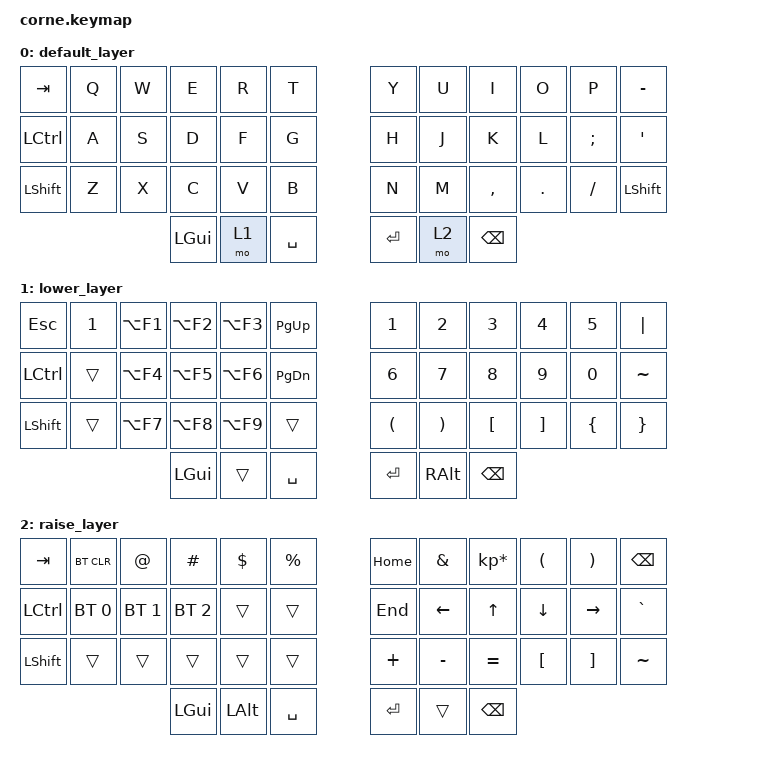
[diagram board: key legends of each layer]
/*
 * Copyright (c) 2020 The ZMK Contributors
 *
 * SPDX-License-Identifier: MIT
 */

#include <behaviors.dtsi>
#include <dt-bindings/zmk/keys.h>
#include <dt-bindings/zmk/bt.h>

/ {
        keymap {
                compatible = "zmk,keymap";

                default_layer {
// -----------------------------------------------------------------------------------------
// |  TAB |  Q  |  W  |  E  |  R  |  T  |   |  Y  |  U   |  I  |  O  |  P  | - |
// | CTRL |  A  |  S  |  D  |  F  |  G  |   |  H  |  J   |  K  |  L  |  ;  |  '   |
// | SHFT |  Z  |  X  |  C  |  V  |  B  |   |  N  |  M   |  ,  |  .  |  /  | ESC  |
//                    | GUI | LWR | SPC |   | ENT | RSE  | ALT |
                        bindings = <
   &kp TAB      &kp Q   &kp W   &kp E   &kp R   &kp T           &kp Y   &kp U   &kp I     &kp O     &kp P     &kp MINUS
   &kp LCTRL    &kp A   &kp S   &kp D   &kp F   &kp G           &kp H   &kp J   &kp K     &kp L     &kp SEMI  &kp SQT
   &kp LSHFT    &kp Z   &kp X   &kp C   &kp V   &kp B           &kp N   &kp M   &kp COMMA &kp DOT   &kp FSLH  &kp LSHFT
                             &kp LGUI &mo 1 &kp SPACE           &kp RET &mo 2   &kp BSPC
                        >;
                };
                lower_layer {
// -----------------------------------------------------------------------------------------
// |  ESC |  1  |  2  |  3  |  4  |  5  |   |  6  |  7  |  8  |  9  |  0  | = |
// | CTRL | BT1 | BT2 | BT3 | BT4 | BT5 |   |  ^  |  &  |  *  |  (  |  )  |  ~   |
// | SHFT |BTCLR|     |     |     |     |   |  |  |  [  |  ]  |  {  |  }  |      |
//                    | GUI |     | SPC |   | ENT |     | ALT |
                        bindings = <
   &kp ESC      &kp N1          &kp LA(F1)   &kp LA(F2)   &kp LA(F3)   &kp PAGE_UP      &kp N1    &kp N2    &kp N3       &kp N4     &kp N5   &kp PIPE
   &kp LCTRL    &trans       &kp LA(F4)   &kp LA(F5)   &kp LA(F6)   &kp PAGE_DOWN    &kp N6    &kp N7    &kp N8       &kp N9     &kp N0   &kp TILDE
   &kp LSHFT    &trans       &kp LA(F7)   &kp LA(F8)   &kp LA(F9)   &trans           &kp LPAR  &kp RPAR  &kp LBKT     &kp RBKT   &kp LBRC &kp RBRC
                                             &kp LGUI     &trans       &kp SPACE        &kp RET   &kp RALT  &kp BSPC
                        >;
                };

                raise_layer {
// -----------------------------------------------------------------------------------------
// |  TAB |  !  |  @  |  #  |  $  |  %  |   |  ^  |  &  |  *  |  (  |  )  | BKSP |
// | CTRL |     |     |     |     |     |   |  -  |  =  |  [  |  ]  |  \  |  `   |
// | SHFT |     |     |     |     |     |   |  _  |  +  |  {  |  }  | "|" |  ~   |
//                    | GUI |     | SPC |   | ENT |     | ALT |
                        bindings = <
   &kp  TAB     &bt BT_CLR     &kp AT       &kp HASH       &kp DLLR     &kp PRCNT           &kp HOME    &kp AMPS   &kp KP_MULTIPLY   &kp LPAR   &kp RPAR   &kp BSPC
   &kp LCTRL    &bt BT_SEL 0   &bt BT_SEL 1 &bt BT_SEL 2   &trans       &trans              &kp END     &kp LEFT   &kp UP            &kp DOWN   &kp RIGHT  &kp GRAVE
   &kp LSHFT    &trans         &trans       &trans         &trans       &trans              &kp PLUS    &kp MINUS  &kp EQUAL         &kp LBKT   &kp RBKT   &kp TILDE
                                            &kp LGUI       &kp LALT     &kp SPACE           &kp RET     &trans     &kp BSPC
                        >;
                };
        };
};
